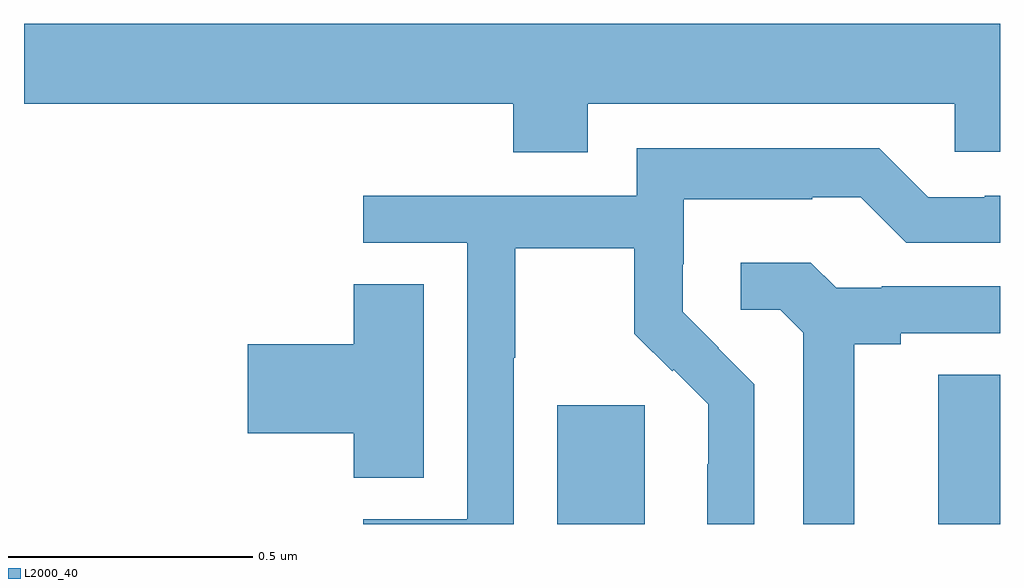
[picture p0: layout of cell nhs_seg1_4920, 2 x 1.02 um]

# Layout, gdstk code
import gdstk
lib = gdstk.Library(unit=1e-6, precision=1e-09)
def R(c, l, rs):  # rectangles x0, y0, x1, y1
    for r in rs: c.add(gdstk.rectangle(r[:2], r[2:], *l))
def P(c, l, *ps):  # polygons
    for p in ps: c.add(gdstk.Polygon(p, *l))
L2000_40 = (2000, 40)

nhs_seg1_4920 = lib.new_cell('nhs_seg1_4920')
R(nhs_seg1_4920, L2000_40, [(173.093,556.199,173.272,556.443), (173.873,556.199,174,556.505)])
P(nhs_seg1_4920, L2000_40, [(173.155,557.06),(173.907,557.06),(173.907,556.962),(174,556.962),(174,557.224),(172,557.224),(172,557.06),(173.003,557.06),(173.003,556.961),(173.155,556.961)],
  [(173.004,556.54),(173.007,556.54),(173.007,556.764),(173.251,556.764),(173.251,556.589),(173.328,556.512),(173.331,556.515),(173.402,556.445),(173.402,556.322),(173.4,556.322),(173.4,556.199),(173.496,556.199),(173.496,556.486),(173.423,556.559),(173.424,556.56),(173.35,556.634),(173.35,556.731),(173.352,556.731),(173.352,556.865),(173.615,556.865),(173.615,556.869),(173.715,556.869),(173.808,556.776),(174,556.776),(174,556.872),(173.969,556.872),(173.969,556.869),(173.853,556.869),(173.753,556.969),(173.256,556.969),(173.256,556.872),(172.695,556.872),(172.695,556.776),(172.908,556.776),(172.908,556.209),(172.695,556.209),(172.695,556.199),(173.004,556.199)],
  [(173.701,556.568),(173.797,556.568),(173.797,556.59),(174,556.59),(174,556.686),(173.758,556.686),(173.758,556.683),(173.664,556.683),(173.612,556.735),(173.469,556.735),(173.469,556.638),(173.55,556.638),(173.597,556.591),(173.597,556.199),(173.701,556.199)],
  [(172.819,556.691),(172.676,556.691),(172.676,556.568),(172.458,556.568),(172.458,556.385),(172.676,556.385),(172.676,556.294),(172.819,556.294)])

lib.write_gds('nhs_seg1_4920.gds')
